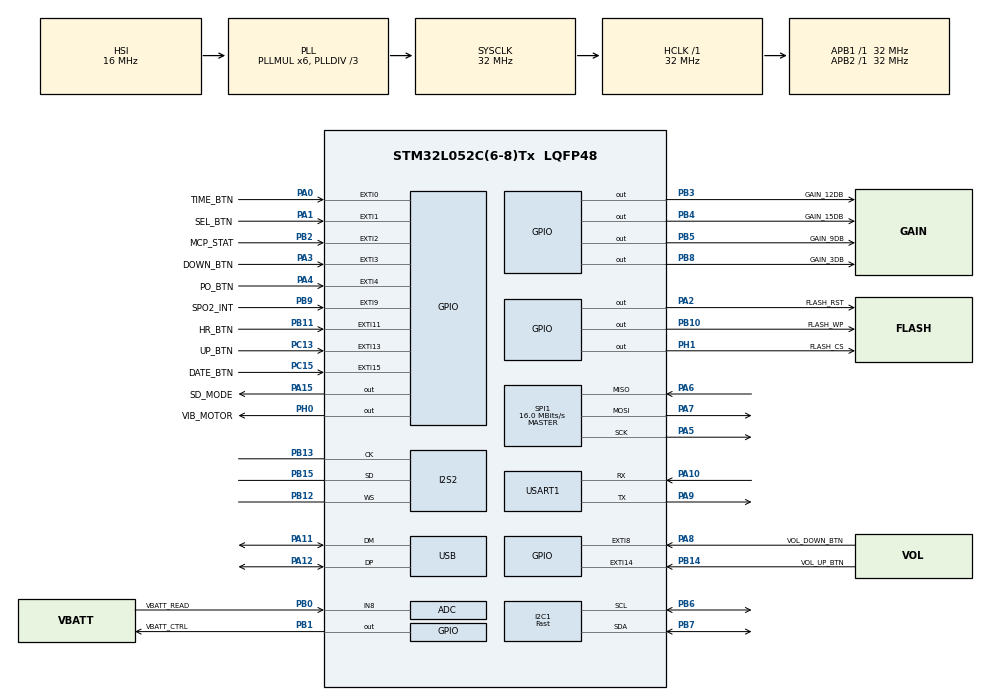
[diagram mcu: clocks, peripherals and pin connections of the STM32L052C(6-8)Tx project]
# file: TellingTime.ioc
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ADC.ContinuousConvMode=ENABLE
ADC.EOCSelection=ADC_EOC_SINGLE_CONV
ADC.EnableAnalogWatchDog=false
ADC.OversamplingMode=DISABLE
ADC.SamplingTime=ADC_SAMPLETIME_160CYCLES_5
Dma.Request0=SPI2_TX
Dma.SPI2_TX.0.Direction=DMA_MEMORY_TO_PERIPH
Dma.SPI2_TX.0.Instance=DMA1_Channel5
Dma.SPI2_TX.0.MemDataAlignment=DMA_MDATAALIGN_HALFWORD
Dma.SPI2_TX.0.MemInc=DMA_MINC_ENABLE
Dma.SPI2_TX.0.Mode=DMA_NORMAL
Dma.SPI2_TX.0.PeriphDataAlignment=DMA_PDATAALIGN_HALFWORD
Dma.SPI2_TX.0.PeriphInc=DMA_PINC_DISABLE
Dma.SPI2_TX.0.Priority=DMA_PRIORITY_LOW
FATFS._FS_LOCK=0
FATFS._FS_NORTC=1
FATFS._FS_READONLY=1
FATFS._FS_TINY=1
FATFS._MAX_LFN=255
FATFS._USE_FASTSEEK=0
FATFS._USE_LFN=0
FATFS._USE_MKFS=0
I2C1.I2C_Speed_Mode=I2C_Fast
I2C1.Timing=0x0060112F
I2S2.ErrorAudioFreq=0.0 %
I2S2.Instance=SPI$Index
I2S2.RealAudioFreq=8.0 KHz
I2S2.VirtualMode=I2S_MODE_MASTER
Mcu.Family=STM32L0
Mcu.Name=STM32L052C(6-8)Tx
Mcu.Package=LQFP48
NVIC.ADC1_COMP_IRQn=true\:0\:0\:false\:false\:true\:true\:true\:true
NVIC.DMA1_Channel4_5_6_7_IRQn=true\:0\:0\:false\:false\:true\:false\:true\:true
NVIC.EXTI0_1_IRQn=true\:0\:0\:false\:false\:true\:true\:true\:true
NVIC.EXTI2_3_IRQn=true\:0\:0\:false\:false\:true\:true\:true\:true
NVIC.EXTI4_15_IRQn=true\:0\:0\:false\:false\:true\:true\:true\:true
NVIC.RTC_IRQn=true\:0\:0\:false\:false\:true\:true\:true\:true
NVIC.TIM21_IRQn=true\:0\:0\:false\:false\:true\:true\:true\:true
NVIC.TIM22_IRQn=true\:0\:0\:false\:false\:true\:true\:true\:true
NVIC.TIM2_IRQn=true\:0\:0\:false\:false\:true\:true\:true\:true
NVIC.USART1_IRQn=true\:0\:0\:false\:false\:true\:true\:true\:true
NVIC.USB_IRQn=true\:0\:0\:false\:false\:true\:true\:true\:true
PA0.GPIO_Label=TIME_BTN
PA0.GPIO_ModeDefaultEXTI=GPIO_MODE_IT_RISING_FALLING
PA0.GPIO_PuPd=GPIO_PULLUP
PA0.Signal=GPXTI0
PA1.GPIO_Label=SEL_BTN
PA1.GPIO_ModeDefaultEXTI=GPIO_MODE_IT_RISING_FALLING
PA1.GPIO_PuPd=GPIO_PULLUP
PA1.Signal=GPXTI1
PA10.Mode=Asynchronous
PA10.Signal=USART1_RX
PA11.Mode=Device
PA11.Signal=USB_DM
PA12.Mode=Device
PA12.Signal=USB_DP
PA13.Mode=Serial_Wire
PA13.Signal=SYS_SWDIO
PA14.Mode=Serial_Wire
PA14.Signal=SYS_SWCLK
PA15.GPIO_Label=SD_MODE
PA15.Signal=GPIO_Output
PA2.GPIO_Label=FLASH_RST
PA2.Signal=GPIO_Output
PA3.GPIO_Label=DOWN_BTN
PA3.GPIO_ModeDefaultEXTI=GPIO_MODE_IT_RISING_FALLING
PA3.GPIO_PuPd=GPIO_PULLUP
PA3.Signal=GPXTI3
PA4.GPIO_Label=PO_BTN
PA4.GPIO_ModeDefaultEXTI=GPIO_MODE_IT_RISING_FALLING
PA4.GPIO_PuPd=GPIO_PULLUP
PA4.Signal=GPXTI4
PA5.Mode=Full_Duplex_Master
PA5.Signal=SPI1_SCK
PA6.Mode=Full_Duplex_Master
PA6.Signal=SPI1_MISO
PA7.Mode=Full_Duplex_Master
PA7.Signal=SPI1_MOSI
PA8.GPIO_Label=VOL_DOWN_BTN
PA8.GPIO_ModeDefaultEXTI=GPIO_MODE_IT_RISING_FALLING
PA8.GPIO_PuPd=GPIO_PULLUP
PA8.Signal=GPXTI8
PA9.Mode=Asynchronous
PA9.Signal=USART1_TX
PB0.GPIO_Label=VBATT_READ
PB0.Mode=IN8
PB0.Signal=ADC_IN8
PB1.GPIO_Label=VBATT_CTRL
PB1.Signal=GPIO_Output
PB10.GPIO_Label=FLASH_WP
PB10.Signal=GPIO_Output
PB11.GPIO_Label=HR_BTN
PB11.GPIO_ModeDefaultEXTI=GPIO_MODE_IT_RISING_FALLING
PB11.GPIO_PuPd=GPIO_PULLUP
PB11.Signal=GPXTI11
PB12.Mode=Half_Duplex_Master
PB12.Signal=I2S2_WS
PB13.Mode=Half_Duplex_Master
PB13.Signal=I2S2_CK
PB14.GPIO_Label=VOL_UP_BTN
PB14.GPIO_ModeDefaultEXTI=GPIO_MODE_IT_RISING_FALLING
PB14.GPIO_PuPd=GPIO_PULLUP
PB14.Signal=GPXTI14
PB15.Mode=Half_Duplex_Master
PB15.Signal=I2S2_SD
PB2.GPIO_Label=MCP_STAT
PB2.GPIO_ModeDefaultEXTI=GPIO_MODE_IT_RISING_FALLING
PB2.GPIO_PuPd=GPIO_PULLUP
PB2.Signal=GPXTI2
PB3.GPIO_Label=GAIN_12DB
PB3.Signal=GPIO_Output
PB4.GPIO_Label=GAIN_15DB
PB4.Signal=GPIO_Output
PB5.GPIO_Label=GAIN_9DB
PB5.Signal=GPIO_Output
PB6.Mode=I2C
PB6.Signal=I2C1_SCL
PB7.Mode=I2C
PB7.Signal=I2C1_SDA
PB8.GPIO_Label=GAIN_3DB
PB8.Signal=GPIO_Output
PB9.GPIO_Label=SPO2_INT
PB9.GPIO_ModeDefaultEXTI=GPIO_MODE_IT_FALLING
PB9.GPIO_PuPd=GPIO_PULLUP
PB9.Signal=GPXTI9
PC13.GPIO_Label=UP_BTN
PC13.GPIO_ModeDefaultEXTI=GPIO_MODE_IT_RISING_FALLING
PC13.GPIO_PuPd=GPIO_PULLUP
PC13.Signal=GPXTI13
PC14-OSC32_IN.Mode=LSE-External-Clock-Source
PC14-OSC32_IN.Signal=RCC_OSC32_IN
PC15-OSC32_OUT.GPIO_Label=DATE_BTN
PC15-OSC32_OUT.GPIO_ModeDefaultEXTI=GPIO_MODE_IT_RISING_FALLING
PC15-OSC32_OUT.GPIO_PuPd=GPIO_PULLUP
PC15-OSC32_OUT.Signal=GPXTI15
PH0-OSC_IN.GPIO_Label=VIB_MOTOR
PH0-OSC_IN.Signal=GPIO_Output
PH1-OSC_OUT.GPIO_Label=FLASH_CS
PH1-OSC_OUT.Signal=GPIO_Output
ProjectManager.HeapSize=0x200
ProjectManager.StackSize=0x400
ProjectManager.TargetToolchain=STM32CubeIDE
RCC.ADCFreq_Value=16000000
RCC.AHBFreq_Value=32000000
RCC.APB1Freq_Value=32000000
RCC.APB1TimFreq_Value=32000000
RCC.APB2Freq_Value=32000000
RCC.APB2TimFreq_Value=32000000
RCC.HCLKFreq_Value=32000000
RCC.HSE_VALUE=8000000
RCC.HSI16_VALUE=16000000
RCC.HSI48MClockSelection=RCC_USBCLKSOURCE_HSI48
RCC.HSI48_VALUE=48000000
RCC.HSI_VALUE=16000000
RCC.LSE_VALUE=32768
RCC.MSI_VALUE=2097000
RCC.PLLDIV=RCC_PLLDIV_3
RCC.PLLMUL=RCC_PLLMUL_6
RCC.RTCClockSelectionVirtual=RCC_RTCCLKSOURCE_LSE
RCC.SYSCLKFreq_VALUE=32000000
RCC.SYSCLKSource=RCC_SYSCLKSOURCE_PLLCLK
RCC.VCOOutputFreq_Value=96000000
RTC.Alarm-Alarm\ A=RTC_ALARM_A
RTC.AlarmMaskDateWeekDay-Alarm\ A=RTC_ALARMMASK_DATEWEEKDAY
RTC.AlarmMaskHours-Alarm\ A=RTC_ALARMMASK_HOURS
RTC.Format=RTC_FORMAT_BIN
RTC.HourFormat=RTC_HOURFORMAT_24
RTC.Hours_A-Alarm\ A=0
RTC.Minutes_A-Alarm\ A=2
RTC.WeekDay=RTC_WEEKDAY_WEDNESDAY
RTC.Year=25
SPI1.BaudRatePrescaler=SPI_BAUDRATEPRESCALER_2
SPI1.CalculateBaudRate=16.0 MBits/s
SPI1.Direction=SPI_DIRECTION_2LINES
SPI1.Mode=SPI_MODE_MASTER
SPI1.VirtualType=VM_MASTER
TIM2.Period=32768
TIM2.TIM2_ETR_REMAP-ClockSourceETR_Mode2_Remap_TIM2=TIM2_ETR_LSE
TIM21.Period=3277
TIM21.TIM21_ETR_REMAP-ClockSourceETR_Mode2_Remap_TIM21=TIM21_ETR_LSE
TIM22.Period=328
TIM22.TIM22_ETR_REMAP-ClockSourceETR_Mode2_Remap_TIM22=TIM22_ETR_LSE
TIM22.TIM_MasterOutputTrigger=TIM_TRGO_RESET
USART1.VirtualMode-Asynchronous=VM_ASYNC
VP_FATFS_VS_Generic.Mode=User_defined
VP_RTC_VS_RTC_Activate.Mode=RTC_Enabled
VP_RTC_VS_RTC_Alarm_A_Intern.Mode=Alarm A
VP_RTC_VS_RTC_Calendar.Mode=RTC_Calendar
VP_TIM21_VS_NoETR.Mode=ClockSourceETR_Mode2_Remap_TIM21
VP_TIM22_VS_NoETR.Mode=ClockSourceETR_Mode2_Remap_TIM22
VP_TIM2_VS_NoETR.Mode=ClockSourceETR_Mode2_Remap_TIM2
board=custom

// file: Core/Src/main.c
/* USER CODE BEGIN Header */
/**
  ******************************************************************************
  * @file           : main.c
  * @brief          : Main program body
  ******************************************************************************
  * @attention
  *
  * Copyright (c) 2024 STMicroelectronics.
  * All rights reserved.
  *
  * This software is licensed under terms that can be found in the LICENSE file
  * in the root directory of this software component.
  * If no LICENSE file comes with this software, it is provided AS-IS.
  *
  ******************************************************************************
  */
/* USER CODE END Header */
#include "main.h"
#include "adc.h"
#include "dma.h"
#include "fatfs.h"
#include "i2c.h"
#include "i2s.h"
#include "rtc.h"
#include "spi.h"
#include "tim.h"
#include "usart.h"
#include "usb.h"
#include "gpio.h"

/* USER CODE BEGIN Includes */
#include "watch_config.h"	// THIS MUST BE INCLUDED FIRST

#ifdef USB_DRIVE
#include "tusb.h"
#endif

#ifdef VIBRATION
#include "morse_driver.h"
#endif

#ifdef SPI_FLASH
#include "W25Q128JV_driver.h"
#endif

#ifdef AUDIO
#include "audio_player.h"
#include "audio_library.h"
#endif

#if defined(HEARTRATE) || defined(PULSE_OX)
#include "MAX30101_driver.h"
#include "arm_math.h"
#endif

#ifdef EXTI_SIGNALS
#include "button_fsm.h"
#endif

#include "event_queue.h"

#include <string.h>

/* USER CODE END Includes */

/* USER CODE BEGIN PTD */
#ifndef USB_DRIVE
struct WatchSettings
{
	uint8_t volume_level;
	EFeedbackMode feedback_mode;
	EDateFormat date_format;
	ETimeFormat time_format;
	uint8_t vibration_length;
	/*
	uint8_t morse_dot_length;
	uint8_t morse_dash_length;
	uint8_t morse_space_length
	*/
};
#endif
/* USER CODE END PTD */

/* USER CODE BEGIN PV */
#ifndef USB_DRIVE
struct WatchSettings watch_settings = {2, AUDIO_MODE, DATE_MDY, TIME_TWELVE_HOUR, 1};
EMenuFSMState menu_state = MENU_IDLE;
#endif

#ifdef LOW_POWER_MODE
volatile uint8_t pending_event_flag = 0;
#endif	/*LOW_POWER_MODE*/

#ifdef EXTI_SIGNALS
const GPIO_TypeDef* EXTI_SIGNAL_PORTS[16] = {GPIOA, GPIOA, GPIOB, GPIOA, GPIOA, GPIOA, GPIOA, GPIOA, GPIOA, GPIOB, GPIOA, GPIOB, GPIOA, GPIOC, GPIOB, GPIOC};
#endif

#ifdef DEBUG_TERMINAL
uint8_t rx_buffer[2];
#ifdef VIBRATION
uint8_t morse_rx_flag = 0;
#endif
#endif /*DEBUG_TERMINAL*/

#ifdef MEASURE_BATT
volatile uint8_t alarm_hour_inc = 0;
volatile uint8_t alarm_min_inc = 0;
volatile uint8_t alarm_sec_inc = 0;
volatile uint8_t batt_sample_num = 0;
volatile uint32_t batt_sample_sum = 0;
#endif

#if defined(VIBRATION) || defined(AUDIO)
volatile EEventFlag user_feedback_flag = NOT_STARTED;
#endif

#ifdef VIBRATION
char morse_buffer[MAX_MORSE_BUFFER_SIZE] = ".-- - ...";
#endif

#ifdef AUDIO
//uint16_t audio_buffers[AUDIO_BUFFER_SAMPLES * 2 * NUM_AUDIO_BUFFERS];
uint16_t* audio_buffers;
volatile uint8_t fill_audio_buffer_flag = 0;
EAudioFile audio_list[MAX_AUDIO_LIST_SIZE];// = {ONE_AUDIO, TWO_AUDIO, THREE_AUDIO, FOUR_AUDIO, FIVE_AUDIO, SIX_AUDIO, SEVEN_AUDIO, EIGHT_AUDIO, NINE_AUDIO, TEN_AUDIO};
uint8_t audio_list_size = 0;
#endif

#if defined(HEARTRATE) || defined(PULSE_OX)
uint16_t num_bio_samples;
EEventFlag bio_measurement_flag = NOT_STARTED;
ESPO2MeasurementType bio_measurement_type = MEASURE_HR;
uint8_t process_bio_data_flag = 0;
#endif

#ifdef HEARTRATE
q15_t* heartrate_data;
q15_t fir_state[FIR_FILTER_TAPS];
const q15_t FIR_COEFFICIENTS[FIR_FILTER_TAPS] = {-896, -673, -640, -432, -174, -43, -143, -408, -625, -601, -341, -77, -80, -409, -811, -916, -579, -66, 135, -254, -978, -1396, -1023, -52, 683, 344, -1091, -2553, -2496, -44, 4165, 8157, 9793, 8157, 4165, -44, -2496, -2553, -1091, 344, 683, -52, -1023, -1396, -978, -254, 135, -66, -579, -916, -811, -409, -80, -77, -341, -601, -625, -408, -143, -43, -174, -432, -640, -673, -896, 0};
arm_fir_instance_q15 S;
uint8_t heartrate_bpm;
#endif

#ifdef PULSE_OX
q15_t* spo2_green_data;
q15_t* spo2_ir_data;

uint8_t spo2_percent;
#endif

//arm_biquad_casd_df1_inst_q15

#ifdef DATE_TIME
RTC_TimeTypeDef set_time;
RTC_DateTypeDef set_date;
#endif

/* USER CODE END PV */

void SystemClock_Config(void);

/* USER CODE BEGIN 0 */
#ifdef DEBUG_TERMINAL
void HAL_UART_RxCpltCallback(UART_HandleTypeDef *huart)
{
    if (huart == &huart1)
    {
		switch(*((uint16_t*)rx_buffer))
		{
			#ifdef DATE_TIME
			case 0x4954:	// Tell Time (TI)
				HAL_UART_Transmit(&huart1, "Time\r\n", 7, 1000);
				EventQueue_Enqueue(GET_TIME_FULL);
				break;
			case 0x4144:	// Tell Date (DA)
				HAL_UART_Transmit(&huart1, "Date\r\n", 7, 1000);
				EventQueue_Enqueue(GET_DATE_FULL);
				break;
			#endif

			#ifdef HEARTRATE
			case 0x5248:	// Heart Rate (HR)
				HAL_UART_Transmit(&huart1, "Heart Rate\r\n", 13, 1000);
				EventQueue_Enqueue(GET_HR);
				break;
			#endif

			#ifdef PULSE_OX
			case 0x4F50:	// Pulse Ox (PO)
				HAL_UART_Transmit(&huart1, "Pulse Ox\r\n", 11, 1000);
				EventQueue_Enqueue(GET_PO);
				break;
			#endif

			case 0x5556:	// Volume Up (VU)
				HAL_UART_Transmit(&huart1, "Volume Up\r\n", 12, 1000);
				EventQueue_Enqueue(VOL_UP);
				break;
			case 0x4456:	// Volume Down (VD)
				HAL_UART_Transmit(&huart1, "Volume Down\r\n", 14, 1000);
				EventQueue_Enqueue(VOL_DOWN);
				break;
			case 0x554D:	// Volume Mute (MU)
				HAL_UART_Transmit(&huart1, "Volume Mute\r\n", 14, 1000);
				EventQueue_Enqueue(VOL_MUTE);
				break;
			case 0x4D55:	// Volume Unmute (UM)
				HAL_UART_Transmit(&huart1, "Volume Unmute\r\n", 16, 1000);
				EventQueue_Enqueue(VOL_UNMUTE);
				break;

			#ifdef AUDIO
			case 0x4150:	// Play Audio (PA)
				HAL_UART_Transmit(&huart1, "Play Audio\r\n", 13, 1000);
				user_feedback_flag = RUNNING;
				PlayerFSM_Prime(audio_list, audio_list_size, audio_buffers);
				HAL_I2S_Transmit_DMA(&hi2s2, audio_buffers, AUDIO_BUFFER_SAMPLES * 2 * NUM_AUDIO_BUFFERS);
				break;
			#endif

			case 0x5541:	// Arrow Up (AU)
				HAL_UART_Transmit(&huart1, "Arrow Up\r\n", 11, 1000);
				EventQueue_Enqueue(MENU_UP);
				break;
			case 0x4441:	// Arrow Down (AD)
				HAL_UART_Transmit(&huart1, "Arrow Down\r\n", 13, 1000);
				EventQueue_Enqueue(MENU_DOWN);
				break;
			case 0x4553:	// Select (SE)
				HAL_UART_Transmit(&huart1, "Select\r\n", 9, 1000);
				EventQueue_Enqueue(MENU_SELECT);
				break;

			#ifdef VIBRATION
			case 0x4F4D:	// Morse (MO)
				HAL_UART_Transmit(&huart1, "Morse\r\n", 8, 1000);
				HAL_UART_Receive_IT(&huart1, morse_buffer, MAX_MORSE_BUFFER_SIZE);
				break;
			#endif

			case 0x5352:	// Reset (RS)
				HAL_UART_Transmit(&huart1, "Reset\r\n", 8, 1000);

				#ifdef SPI_FLASH
				Flash_ReleasePowerDown();
				Flash_ResetDevice();
				#endif

				#ifdef defined(HEARTRATE) || defined(PULSE_OX)
				SPO2_ResetDevice();
				#endif

				NVIC_SystemReset();
				break;

			default:
				break;
		}

		memset(rx_buffer, 0, sizeof(rx_buffer));	// Clears the RX buffer
    }
}
#endif

#ifdef AUDIO
#if NUM_AUDIO_BUFFERS == 2
void HAL_I2S_TxHalfCpltCallback(I2S_HandleTypeDef *hi2s)
{
	if (user_feedback_flag == RUNNING)
	{
		fill_audio_buffer_flag = 1;
	}
	else
	{
		HAL_I2S_DMAStop(&hi2s2);
	}
}
#endif	/*NUM_AUDIO_BUFFERS == 2*/

void HAL_I2S_TxCpltCallback(I2S_HandleTypeDef *hi2s)
{
	if (user_feedback_flag == RUNNING)
	{
		fill_audio_buffer_flag = 1;
	}
	else
	{
		HAL_I2S_DMAStop(&hi2s2);
	}
}

void fill_audio_buffer()
{
	  if (PlayerFSM_Run() != AUDIOPLAYER_OK)
	  {
		  user_feedback_flag = FINISHED;
		  Flash_PowerDown();
	  }

	  fill_audio_buffer_flag = 0;

	  #if NUM_AUDIO_BUFFERS == 1
	  HAL_I2S_Transmit_DMA(&hi2s2, audio_buffers, AUDIO_BUFFER_SAMPLES * 2);
	  #endif
}
#endif	/*AUDIO*/

void HAL_TIM_PeriodElapsedCallback(TIM_HandleTypeDef* htim)
{
	#ifdef VIBRATION
	// Vibration motor timer
    if (htim == &htim21)
    {
		#ifdef VIBRATION
    	switch(MorseFSM_Run())
    	{
    		case DOT:
    		case DASH:
    			HAL_GPIO_WritePin(VIB_MOTOR_GPIO_Port, VIB_MOTOR_Pin, GPIO_PIN_SET);
    			break;

    		case PAUSE:
    		case SPACE:
    			HAL_GPIO_WritePin(VIB_MOTOR_GPIO_Port, VIB_MOTOR_Pin, GPIO_PIN_RESET);
    			break;

    		case MORSE_DONE:
    			HAL_GPIO_WritePin(VIB_MOTOR_GPIO_Port, VIB_MOTOR_Pin, GPIO_PIN_RESET);
    			HAL_TIM_Base_Stop_IT(&htim21);
    			user_feedback_flag = FINISHED;
    			break;

    		default:
    			break;
    	}

    	return;
		#endif
    }
	#endif	/*VIBRATION*/

	#ifdef EXTI_SIGNALS
    // Button debounce timer
    if (htim == &htim22)
    {
    	HAL_TIM_Base_Stop_IT(&htim22);

    	if (Button_GetState() == INITIAL_PRESS)
    	{
			uint8_t button_exti_line = Button_GetButton();

			if (HAL_GPIO_ReadPin(EXTI_SIGNAL_PORTS[button_exti_line], (0x0001 << button_exti_line)) == GPIO_PIN_RESET)
			{
				Button_DebounceComplete();
				__HAL_TIM_CLEAR_FLAG(&htim2, TIM_SR_UIF); // Stops TIM2's interrupt from firing immediately
				HAL_TIM_Base_Start_IT(&htim2);
			}
			else
			{
				Button_Release();
				#ifdef LOW_POWER_MODE
				pending_event_flag = 0;
				#endif	/*LOW_POWER_MODE*/
			}
    	}

    	return;
    }

    // Long button press timer
    if (htim == &htim2)
    {
    	HAL_TIM_Base_Stop_IT(&htim2);

    	if (Button_GetState() == DEBOUNCED)
    	{
    		Button_LongPress();
    		EventQueue_Enqueue(Button_GetWatchEvent());
    	}

		return;
    }
	#endif	/*EXTI_SIGNALS*/
}

#ifdef MEASURE_BATT
void HAL_RTC_AlarmAEventCallback(RTC_HandleTypeDef *hrtc)
{
	#ifdef LOW_POWER_MODE
	pending_event_flag = 1;		// Prevents us from going to sleep since we expect there will be an event after taking an ADC measurement
	#endif	/*LOW_POWER_MODE*/
	HAL_GPIO_WritePin(VBATT_CTRL_GPIO_Port, VBATT_CTRL_Pin, GPIO_PIN_SET);	// Biases the measurement voltage divider MOSFET
	HAL_ADC_Start_IT(&hadc);
}

void HAL_ADC_ConvCpltCallback(ADC_HandleTypeDef* hadc)
{
	// Updates the alarm so that it happens again
	RTC_AlarmTypeDef alarm;

	if (HAL_RTC_GetAlarm(&hrtc, &alarm, RTC_ALARM_A, RTC_FORMAT_BIN) != HAL_OK)
	{
		Error_Handler();
	}

	// add logic so everything below this only runs after a certain number of samples has been taken
	batt_sample_sum += HAL_ADC_GetValue(hadc);
	batt_sample_num++;

	if (batt_sample_num >= BATT_MEASURE_SAMPLES)
	{
		HAL_GPIO_WritePin(VBATT_CTRL_GPIO_Port, VBATT_CTRL_Pin, GPIO_PIN_RESET);	// Unbiases the measurement voltage divider MOSFET
		HAL_ADC_Stop_IT(hadc);		// Stops taking ADC measurements

		if (batt_sample_sum / batt_sample_num <= 1912)
		{
			EventQueue_Enqueue(LOW_BATT_DETECT);
		}

		batt_sample_sum = 0;
		batt_sample_num = 0;

		alarm.AlarmTime.Hours = (alarm.AlarmTime.Hours + alarm_hour_inc) % 24;
		alarm.AlarmTime.Minutes = (alarm.AlarmTime.Minutes + alarm_min_inc) % 60;
		alarm.AlarmTime.Seconds = (alarm.AlarmTime.Seconds + alarm_sec_inc) % 60;
		alarm.AlarmTime.SubSeconds = 0;

		if (HAL_RTC_SetAlarm_IT(&hrtc, &alarm, RTC_FORMAT_BIN) != HAL_OK)
		{
			Error_Handler();
		}

		#ifdef LOW_POWER_MODE
		pending_event_flag = 0;
		#endif	/*LOW_POWER_MODE*/
	}
}
#endif	/*MEASURE_BATT*/

#ifdef EXTI_SIGNALS
uint8_t getEXTILineNum(uint16_t GPIO_Pin)
{
	for (uint8_t i = 0; i < 16; i++)
	{
		if (GPIO_Pin & (0x0001 << i))
		{
			return i;
		}
	}

	return 0;
}

void HAL_GPIO_EXTI_Callback(uint16_t GPIO_Pin)
{
	uint8_t exti_line_num = getEXTILineNum(GPIO_Pin);
	//GPIO_PinState pin_state = HAL_GPIO_ReadPin(EXTI_SIGNAL_PORTS[exti_line_num], GPIO_Pin);

	switch (exti_line_num)
	{
		case SPO2_INT:			// This pin is only set up for falling edge detection
			#if defined(HEARTRATE) || defined(PULSE_OX)
			process_bio_data_flag = 1;
			#endif
			break;

		case MCP_STAT_INT:
			#ifdef CHARGING_MONITOR
			EventQueue_Enqueue(HAL_GPIO_ReadPin(EXTI_SIGNAL_PORTS[exti_line_num], GPIO_Pin) == GPIO_PIN_RESET ? CHARGE_CYCLE_START : CHARGE_CYCLE_END);
			#endif
			break;

		default:	// If the interrupt signal did not come from the above three cases, it must be a button
			switch (Button_GetState())
			{
				case BUTTON_IDLE:	// This runs when the button is initially pressed
					if (EventQueue_GetNumQueued() == 0)	// Watch functions controlled by buttons are blocked if there is already another event
					{
						#ifdef LOW_POWER_MODE
						pending_event_flag = 1;						// Prevents us from going to sleep since we expect there will be an event after debouncing
						#endif	/*LOW_POWER_MODE*/
						Button_InitPress(exti_line_num);
						__HAL_TIM_CLEAR_FLAG(&htim22, TIM_SR_UIF); 	// Stops TIM22's interrupt from firing immediately
						HAL_TIM_Base_Start_IT(&htim22);
					}
					break;

				case DEBOUNCED:		// This runs once the button is debounced and released before the long press timer overflows
					Button_ShortPress();
					EventQueue_Enqueue(Button_GetWatchEvent());
					Button_Release();
					#ifdef LOW_POWER_MODE
					pending_event_flag = 0;
					#endif	/*LOW_POWER_MODE*/
					break;

				case LONG_PRESS:	// This runs once the button is debounced and released after the long press timer overflows
					Button_Release();
					#ifdef LOW_POWER_MODE
					pending_event_flag = 0;
					#endif	/*LOW_POWER_MODE*/
					break;

				default:
					break;
			}
			break;
	}
}
#endif	/*EXTI_SIGNALS*/

/*
uint32_t run_iir_filter(uint32_t x_input)
{
	uint32_t y_output = x_input * b[0];

	for (int i = 1; i < IIR_FILTER_STAGES; i++)
	{
		y_output += b[i] * iir_delayed_x[i-1];
		y_output += a[i] * iir_delayed_y[i-1];

		iir_delayed_x[i] = iir_delayed_x[i-1];
		iir_delayed_y[i] = iir_delayed_y[i-1];
	}

	iir_delayed_x[0] = x_input;
	iir_delayed_y[0] = y_output;

	return y_output;
}
*/

#if defined(HEARTRATE) || defined(PULSE_OX)
void process_spo2_data()
{
	uint8_t fired_ints[5];
	uint8_t num_fired_ints;
	SPO2_ReadInterrupts(fired_ints, &num_fired_ints);

	for (int i = 0; i < num_fired_ints; i++)
	{
		switch (fired_ints[i])
		{
			case PWR_RDY_MASK:
				break;

			case ALC_OVF_MASK:
				break;

			case PPG_RDY_MASK:
				uint32_t new_sample[4];
				SPO2_ReadNewSample(new_sample);

				if (bio_measurement_type == MEASURE_HR && num_bio_samples <= HR_SAMPLE_NUM)
				{
					#ifdef HEARTRATE
					// Heartrate data collection and filtering
					heartrate_data[HR_SAMPLE_NUM - num_bio_samples] = (q15_t) new_sample[0];
					#endif
				}
				else if (bio_measurement_type == MEASURE_SPO2 && num_bio_samples <= SPO2_SAMPLE_NUM)
				{
					#ifdef PULSE_OX
					// SPO2 data collection and filtering
					spo2_green_data[SPO2_SAMPLE_NUM - num_bio_samples - 1] = (q15_t) new_sample[0];
					spo2_ir_data[SPO2_SAMPLE_NUM - num_bio_samples - 1] = (q15_t) new_sample[1];
					#endif
				}

				//================================displays filtered output===========================
				#ifdef DEBUG_TERMINAL
				char sample_str[15];
				memset(sample_str, 0, 15);
				sprintf(sample_str, "%d\r\n", new_sample[0]);
				//sprintf(sample_str, "%d, %d\r\n", new_sample[0], new_sample[1]);
				HAL_UART_Transmit(&huart1, sample_str, 15, 1000);
				#endif
				//===================================================================================

				num_bio_samples--;
				if (num_bio_samples == 0)
				{
					SPO2_StopMeasurement();

					if (bio_measurement_type == MEASURE_HR)
					{
						#ifdef HEARTRATE
						// Heart rate post processing
						q15_t min = heartrate_data[0];
						for (int i = 1; i < HR_SAMPLE_NUM; i++)
						{
							min = heartrate_data[i] < min ? heartrate_data[i] : min;
						}

						q15_t temp;
						for (int i = 0; i < HR_SAMPLE_NUM; i++)
						{
							//heartrate_data[i] -= min;
							arm_fir_q15(&S, &heartrate_data[i], &temp, 1);

							char str_out[6];
							memset(str_out, 0, 6);
							sprintf(str_out, "%d\r\n", temp);
							HAL_UART_Transmit(&huart1, str_out, 6, 1000);
							//heartrate_data[i] = heartrate_data[i] > 0 ? 0 : heartrate_data[i];
						}

						q15_t rms;
						arm_rms_q15(heartrate_data, HR_SAMPLE_NUM, &rms);
						rms++;
						#endif
					}
					else if (bio_measurement_type == MEASURE_SPO2)
					{
						#ifdef PULSE_OX
						// SPO2 post processing
						q15_t rms_green;
						q15_t rms_ir;
						arm_rms_q15(spo2_green_data, SPO2_SAMPLE_NUM, &rms_green);
						arm_rms_q15(spo2_ir_data, SPO2_SAMPLE_NUM, &rms_ir);
						spo2_percent = (uint8_t) (((float32_t) rms_green) / ((float32_t) rms_ir) * 100);
						#endif
					}

					bio_measurement_flag = FINISHED;
				}
				break;

			case A_FULL_MASK:
				break;

			case DIE_TEMP_RDY_MASK:
				break;

			default:
				break;
		}
	}

	process_bio_data_flag = 0;
}
#endif	/*defined(HEARTRATE) || defined(PULSE_OX)*/

#ifdef DATE_TIME
uint8_t convert_24hr_to_12hr(uint8_t hour_24)
{
	uint8_t hour_12 = hour_24 % 12;

	if (hour_12 == 0)
	{
		hour_12 = 12;
	}

	if (hour_24 / 12 == 1)
	{
		hour_12 |= 0x80;	//AM/PM information is encoded in the MSB: AM = 0, PM = 1;
	}

	return hour_12;
}
#endif	/*DATE_TIME*/

#ifndef USB_DRIVE
void set_gain_pins()
{
	HAL_GPIO_WritePin(GAIN_3DB_GPIO_Port, GAIN_3DB_Pin, GPIO_PIN_RESET);
	HAL_GPIO_WritePin(GAIN_9DB_GPIO_Port, GAIN_9DB_Pin, GPIO_PIN_RESET);
	HAL_GPIO_WritePin(GAIN_12DB_GPIO_Port, GAIN_12DB_Pin, GPIO_PIN_RESET);
	HAL_GPIO_WritePin(GAIN_15DB_GPIO_Port, GAIN_15DB_Pin, GPIO_PIN_RESET);

	switch (watch_settings.volume_level)
	{
		case 0:
			HAL_GPIO_WritePin(GAIN_3DB_GPIO_Port, GAIN_3DB_Pin, GPIO_PIN_SET);
			break;

		case 2:
			HAL_GPIO_WritePin(GAIN_9DB_GPIO_Port, GAIN_9DB_Pin, GPIO_PIN_SET);
			break;

		case 3:
			HAL_GPIO_WritePin(GAIN_12DB_GPIO_Port, GAIN_12DB_Pin, GPIO_PIN_SET);
			break;

		case 4:
			HAL_GPIO_WritePin(GAIN_15DB_GPIO_Port, GAIN_15DB_Pin, GPIO_PIN_SET);
			break;

		default:
			break;
	}
}
#endif	/*USB_DRIVE*/

#if defined(AUDIO) || defined(VIBRATION)
void start_user_feedback()
{
	user_feedback_flag = RUNNING;

	if (watch_settings.feedback_mode == AUDIO_MODE)
	{
		#ifdef AUDIO
		Flash_ReleasePowerDown();	// Wakes flash memory up from power down mode
		HAL_GPIO_WritePin(SD_MODE_GPIO_Port, SD_MODE_Pin, GPIO_PIN_SET);
		audio_buffers = (uint16_t*) calloc(AUDIO_BUFFER_SAMPLES * 2 * NUM_AUDIO_BUFFERS, sizeof(uint16_t));
		PlayerFSM_Prime(audio_list, audio_list_size, audio_buffers);	// Need to add error handling to this
		HAL_I2S_Transmit_DMA(&hi2s2, audio_buffers, AUDIO_BUFFER_SAMPLES * 2 * NUM_AUDIO_BUFFERS);
		#endif
	}
	else if (watch_settings.feedback_mode == VIBRATION_MODE)
	{
		#ifdef VIBRATION
		MorseFSM_Prime(morse_buffer, watch_settings.vibration_length);
		HAL_TIM_Base_Start_IT(&htim21);
		#endif
	}
}

void end_user_feedback()
{
	user_feedback_flag = NOT_STARTED;

	if (watch_settings.feedback_mode == AUDIO_MODE)
	{
		#ifdef AUDIO
		free(audio_buffers);
		#endif
	}
}
#endif	/*defined(AUDIO) || defined(VIBRATION)*/

#ifndef USB_DRIVE
void handle_events()	// Must be called repeatedly in main loop
{
	EWatchEvent event = EventQueue_Peek();

	switch (event)
	{
		#ifdef DATE_TIME
		case GET_TIME_FULL:
		case GET_TIME_MIN:
			switch (user_feedback_flag)
			{
				case NOT_STARTED:
					// Clears buffers
					audio_list_size = 0;
					memset(audio_list, 0, MAX_AUDIO_LIST_SIZE);
					memset(morse_buffer, 0, MAX_MORSE_BUFFER_SIZE);

					// Gets current time from RTC
					RTC_TimeTypeDef current_time;
					RTC_DateTypeDef current_date;
					if (HAL_RTC_GetTime(&hrtc, &current_time, RTC_FORMAT_BIN) != HAL_OK || HAL_RTC_GetDate(&hrtc, &current_date, RTC_FORMAT_BIN) != HAL_OK)
					{
						Error_Handler();
					}

					// Creates feedback for the hour (if desired)
					//if (event == GET_TIME_FULL)
					//{
					uint8_t twelve_hour = convert_24hr_to_12hr(current_time.Hours);

					if (watch_settings.time_format == TIME_TWELVE_HOUR)
					{
						generate_number_audio(audio_list, &audio_list_size, (twelve_hour & 0x0F), 0);
					}
					else
					{
						generate_number_audio(audio_list, &audio_list_size, current_time.Hours, 0);
					}

					generate_number_morse(morse_buffer, current_time.Hours);
					//}

					// Creates feedback for the minutes
					if (current_time.Minutes != 0)
					{
						generate_number_audio(audio_list, &audio_list_size, current_time.Minutes, 1);
					}
					generate_number_morse(morse_buffer, current_time.Minutes);

					// Adds AM/PM if time format is twelve-hour
					if (watch_settings.time_format == TIME_TWELVE_HOUR)
					{
						audio_list[audio_list_size++] = (twelve_hour & 0x80 ? PM_AUDIO : AM_AUDIO);
					}

					start_user_feedback();
					break;

				case FINISHED:
					end_user_feedback();
					HAL_GPIO_WritePin(SD_MODE_GPIO_Port, SD_MODE_Pin, GPIO_PIN_RESET);	// Resets the SM_MODE pin in case the feedback mode was AUDIO
					EventQueue_Dequeue();
					break;

				default:
					break;
			}
			break;

		case GET_DATE_FULL:
		case GET_DATE_DAY:
			switch (user_feedback_flag)
			{
				case NOT_STARTED:
					// Clears buffers
					audio_list_size = 0;
					memset(audio_list, 0, MAX_AUDIO_LIST_SIZE);
					memset(morse_buffer, 0, MAX_MORSE_BUFFER_SIZE);

					// Gets current date from RTC
					RTC_DateTypeDef current_date;
					if (HAL_RTC_GetDate(&hrtc, &current_date, RTC_FORMAT_BIN) != HAL_OK)
					{
						Error_Handler();
					}

					// Creates feedback for the weekday (if desired)
					if (event == GET_DATE_FULL)
					{
						audio_list[audio_list_size++] = SUNDAY_AUDIO + current_date.WeekDay;
						//generate_number_audio(audio_list, &audio_list_size, current_date.WeekDay, 0);	// Change this if we have weekday audio (MONDAY_AUDIO + current_date.WeekDay)
						generate_number_morse(morse_buffer, current_date.WeekDay);
					}

					// Creates feedback for the month and day
					if (watch_settings.date_format == DATE_MDY)
					{
						// Creates feedback for month
						audio_list[audio_list_size++] = JANUARY_AUDIO + current_date.Month - 1;
						generate_number_morse(morse_buffer, current_date.Month);

						// Creates feedback for day
						generate_number_audio(audio_list, &audio_list_size, current_date.Date, 0);
						generate_number_morse(morse_buffer, current_date.Date);
					}
					else
					{
						// Creates feedback for day
						generate_number_audio(audio_list, &audio_list_size, current_date.Date, 0);
						generate_number_morse(morse_buffer, current_date.Date);

						// Creates feedback for month
						audio_list[audio_list_size++] = JANUARY_AUDIO + current_date.Month - 1;
						generate_number_morse(morse_buffer, current_date.Month);
					}

					// Creates feedback for the year (if desired)
					if (event == GET_DATE_FULL)
					{
						audio_list[audio_list_size++] = TWENTY_AUDIO;
						generate_number_audio(audio_list, &audio_list_size, current_date.Year, 0);
						generate_number_morse(morse_buffer, current_date.Year);
					}

					start_user_feedback();
					break;

				case FINISHED:
					end_user_feedback();
					EventQueue_Dequeue();
					break;

				default:
					break;
			}
			break;
		#endif	/*DATE_TIME*/

		case GET_HR:
			#ifdef HEARTRATE
			switch (bio_measurement_flag)
			{
				case NOT_STARTED:
					num_bio_samples = HR_SAMPLE_NUM+1;
					bio_measurement_type = MEASURE_HR;
					heartrate_data = (q15_t*) calloc(HR_SAMPLE_NUM, sizeof(q15_t));
					SPO2_StartMeasurement(bio_measurement_type);
					bio_measurement_flag = RUNNING;
					break;

				case FINISHED:
					// Send results to audio player
					free(heartrate_data);
					bio_measurement_flag = NOT_STARTED;
					EventQueue_Dequeue();
					break;

				default:
					break;
			}
			#else
			EventQueue_Dequeue();
			#endif	/*HEARTRATE*/
			break;

		case GET_PO:
			#ifdef PULSE_OX
			switch (bio_measurement_flag)
			{
				case NOT_STARTED:
					num_bio_samples = SPO2_SAMPLE_NUM+1;
					bio_measurement_type = MEASURE_SPO2;
					spo2_green_data = (q15_t*) calloc(SPO2_SAMPLE_NUM, sizeof(q15_t));
					spo2_ir_data = (q15_t*) calloc(SPO2_SAMPLE_NUM, sizeof(q15_t));
					SPO2_StartMeasurement(bio_measurement_type);
					bio_measurement_flag = RUNNING;
					break;

				case FINISHED:
					switch (user_feedback_flag)
					{
						case NOT_STARTED:
							free(spo2_green_data);
							free(spo2_ir_data);

							// Clears buffers
							audio_list_size = 0;
							memset(audio_list, 0, MAX_AUDIO_LIST_SIZE);
							memset(morse_buffer, 0, MAX_MORSE_BUFFER_SIZE);

							// Generate SPO2 audio
							generate_number_audio(audio_list, &audio_list_size, spo2_percent, 0);
							audio_list[audio_list_size++] = PERCENT_AUDIO;
							generate_number_morse(morse_buffer, spo2_percent);
							start_user_feedback();
							break;

						case FINISHED:
							end_user_feedback();
							bio_measurement_flag = NOT_STARTED;
							EventQueue_Dequeue();
							break;
					}
					break;

				default:
					break;
			}
			#else
			EventQueue_Dequeue();
			#endif	/*PULSE_OX*/
			break;

		case VOL_UP:
			if (watch_settings.feedback_mode == AUDIO_MODE && watch_settings.volume_level < 4)
			{
				watch_settings.volume_level++;
				set_gain_pins();
			}
			EventQueue_Dequeue();
			break;

		case VOL_DOWN:
			if (watch_settings.feedback_mode == AUDIO_MODE && watch_settings.volume_level > 0)
			{
				watch_settings.volume_level--;
				set_gain_pins();
			}
			EventQueue_Dequeue();
			break;

		case VOL_MUTE:
			watch_settings.feedback_mode = VIBRATION_MODE;
			switch (user_feedback_flag)
			{
				case NOT_STARTED:
					memset(morse_buffer, 0, MAX_MORSE_BUFFER_SIZE);
					morse_buffer[0] = '-';
					start_user_feedback();
					break;

				case FINISHED:
					end_user_feedback();
					EventQueue_Dequeue();
					break;
			}
			break;

		case VOL_UNMUTE:
			watch_settings.feedback_mode = AUDIO_MODE;
			EventQueue_Dequeue();
			break;

		case MENU_UP:
		case MENU_DOWN:
		case MENU_SELECT:
		case MENU_HOME:
			if (watch_settings.feedback_mode == AUDIO_MODE)		// You can only edit settings when not in silent mode
			{
				switch (user_feedback_flag)
				{
					case NOT_STARTED:
						audio_list_size = 0;
						memset(audio_list, 0, MAX_AUDIO_LIST_SIZE);

						run_menu_fsm(event);
						start_user_feedback();
						break;

					case FINISHED:
						end_user_feedback();
						EventQueue_Dequeue();
						break;
				}
				break;
			}
			else
			{
				EventQueue_Dequeue();
			}

		#ifdef CHARGING_MONITOR
		case CHARGE_CYCLE_START:
			HAL_UART_Transmit(&huart1, "Charge Start\r\n", 15, 1000);
			EventQueue_Dequeue();
			break;

		case CHARGE_CYCLE_END:
			HAL_UART_Transmit(&huart1, "Charge End\r\n", 13, 1000);
			EventQueue_Dequeue();
			break;
		#endif	/*CHARGING_MONITOR*/

		#ifdef MEASURE_BATT
		case LOW_BATT_DETECT:
			switch (user_feedback_flag)
			{
				case NOT_STARTED:
					audio_list_size = 0;
					memset(audio_list, 0, MAX_AUDIO_LIST_SIZE);

					audio_list[audio_list_size++] = LOW_AUDIO;
					audio_list[audio_list_size++] = BATTERY_AUDIO;
					start_user_feedback();
					break;

				case FINISHED:
					end_user_feedback();
					EventQueue_Dequeue();
					break;
			}
			break;
		#endif	/*MEASURE_BATT*/

		default:	// Runs if there are no events to handle
			#ifdef LOW_POWER_MODE
			if (!pending_event_flag)	// Prevents us from going back to sleep if we are checking for an event (e.g. taking ADC sample, debouncing, etc.)
			{
				HAL_SuspendTick();
				HAL_PWR_EnterSTOPMode(PWR_LOWPOWERREGULATOR_ON, PWR_STOPENTRY_WFI);
				SystemClock_Config();
				HAL_ResumeTick();
			}
			#endif	/*LOW_POWER_MODE*/
			break;
	}

}

void run_menu_fsm(EWatchEvent menu_action)
{
	switch (menu_state)
	{
		case MENU_IDLE:
			if (menu_action == MENU_SELECT)
			{
				menu_state = MENU_SET_TIME;
				audio_list[audio_list_size++] = SET_AUDIO;
				audio_list[audio_list_size++] = TIME_AUDIO;
			}
			break;

		case MENU_SET_TIME:
			switch (menu_action) {
				case MENU_SELECT:
					menu_state = MENU_SET_HOUR;
					if (HAL_RTC_GetTime(&hrtc, &set_time, RTC_FORMAT_BIN) != HAL_OK || HAL_RTC_GetDate(&hrtc, &set_date, RTC_FORMAT_BIN) != HAL_OK)
					{
						Error_Handler();
					}
					audio_list[audio_list_size++] = SET_AUDIO;
					audio_list[audio_list_size++] = HOUR_AUDIO;
					break;

				case MENU_UP:
					menu_state = MENU_SET_DATE;
					audio_list[audio_list_size++] = SET_AUDIO;
					audio_list[audio_list_size++] = DATE_AUDIO;
					break;

				case MENU_DOWN:
					menu_state = MENU_FORMAT_TIME;
					audio_list[audio_list_size++] = SET_AUDIO;
					audio_list[audio_list_size++] = TIME_AUDIO;
					audio_list[audio_list_size++] = FORMAT_AUDIO;
					break;
			}
			break;

		case MENU_SET_HOUR:
			switch (menu_action) {
				case MENU_SELECT:
					menu_state = MENU_SET_MINUTE;
					audio_list[audio_list_size++] = SET_AUDIO;
					audio_list[audio_list_size++] = MINUTE_AUDIO;
					break;

				case MENU_UP:
					set_time.Hours = (set_time.Hours >= 23 ? 0 : set_time.Hours + 1);
					generate_number_audio(audio_list, &audio_list_size, set_time.Hours, 0);
					break;

				case MENU_DOWN:
					set_time.Hours = (set_time.Hours == 0 ? 23 : set_time.Hours - 1);
					generate_number_audio(audio_list, &audio_list_size, set_time.Hours, 0);
					break;
			}
			break;

		case MENU_SET_MINUTE:
			switch (menu_action) {
				case MENU_SELECT:
					menu_state = MENU_IDLE;
					set_time.Seconds = 0;
					set_time.SubSeconds = 0;

					if (HAL_RTC_SetTime(&hrtc, &set_time, RTC_FORMAT_BIN) != HAL_OK)
					{
						Error_Handler();
					}

					// Reseting battery check alarm
					#ifdef MEASURE_BATT
					RTC_AlarmTypeDef alarm;
					if (HAL_RTC_GetAlarm(&hrtc, &alarm, RTC_ALARM_A, RTC_FORMAT_BIN) != HAL_OK)
					{
						Error_Handler();
					}

					alarm.AlarmTime.Hours = (set_time.Hours + alarm_hour_inc) % 24;
					alarm.AlarmTime.Minutes = (set_time.Minutes + alarm_min_inc) % 60;
					alarm.AlarmTime.Seconds = (set_time.Seconds + alarm_sec_inc) % 60;

					if (HAL_RTC_SetAlarm_IT(&hrtc, &alarm, RTC_FORMAT_BIN) != HAL_OK)
					{
						Error_Handler();
					}
					#endif

					audio_list[audio_list_size++] = TIME_AUDIO;
					audio_list[audio_list_size++] = SET_AUDIO;
					break;

				case MENU_UP:
					set_time.Minutes = (set_time.Minutes >= 59 ? 0 : set_time.Minutes + 1);
					generate_number_audio(audio_list, &audio_list_size, set_time.Minutes, 0);
					break;

				case MENU_DOWN:
					set_time.Minutes = (set_time.Minutes == 0 ? 59 : set_time.Minutes - 1);
					generate_number_audio(audio_list, &audio_list_size, set_time.Minutes, 0);
					break;
			}
			break;

		case MENU_SET_DATE:
			switch (menu_action) {
				case MENU_SELECT:
					menu_state = MENU_SET_YEAR;
					if (HAL_RTC_GetDate(&hrtc, &set_date, RTC_FORMAT_BIN) != HAL_OK)
					{
						Error_Handler();
					}
					audio_list[audio_list_size++] = SET_AUDIO;
					audio_list[audio_list_size++] = YEAR_AUDIO;
					break;

				case MENU_UP:
					menu_state = MENU_SET_VIB_LEN;
					audio_list[audio_list_size++] = SET_AUDIO;
					audio_list[audio_list_size++] = VIBRATION_AUDIO;
					audio_list[audio_list_size++] = LENGTH_AUDIO;
					break;

				case MENU_DOWN:
					menu_state = MENU_SET_TIME;
					audio_list[audio_list_size++] = SET_AUDIO;
					audio_list[audio_list_size++] = TIME_AUDIO;
					break;
			}
			break;

		case MENU_SET_DAY:
			switch (menu_action) {
				case MENU_SELECT:
					menu_state = MENU_IDLE;

					// Determines day of the week for the month using Zeller's Congruence algorithm
					uint8_t month_code = set_date.Month < 3 ? set_date.Month + 12 : set_date.Month;
					uint8_t weekday_code = (set_date.Date + (13 * (month_code+1) / 5) + set_date.Year) % 7;
					set_date.WeekDay = (weekday_code + 5) % 7;

					if (HAL_RTC_SetDate(&hrtc, &set_date, RTC_FORMAT_BIN) != HAL_OK)
					{
						Error_Handler();
					}

					audio_list[audio_list_size++] = DATE_AUDIO;
					audio_list[audio_list_size++] = SET_AUDIO;
					break;

				case MENU_UP:
				case MENU_DOWN:
					uint8_t upper_lim;
					switch (set_date.Month)
					{
						case 1:
						case 3:
						case 5:
						case 7:
						case 8:
						case 10:
						case 12:
							upper_lim = 31;
							break;

						case 2:
							upper_lim = (set_date.Year % 4 == 0 ? 29 : 28);
							break;

						case 4:
						case 6:
						case 9:
						case 11:
							upper_lim = 30;
							break;

						default:
							upper_lim = 31;
					}

					set_date.Date = (menu_action == MENU_UP ? (set_date.Date >= upper_lim ? 1 : set_date.Date + 1) : (set_date.Date <= 1 ? upper_lim : set_date.Date - 1));
					generate_number_audio(audio_list, &audio_list_size, set_date.Date, 0);
					break;
			}
			break;

		case MENU_SET_MONTH:
			switch (menu_action) {
				case MENU_SELECT:
					menu_state = MENU_SET_DAY;
					audio_list[audio_list_size++] = SET_AUDIO;
					audio_list[audio_list_size++] = DAY_AUDIO;
					break;

				case MENU_UP:
					set_date.Month = (set_date.Month >= 12 ? 1 : set_date.Month + 1);
					audio_list[audio_list_size++] = JANUARY_AUDIO + set_date.Month - 1;
					break;

				case MENU_DOWN:
					set_date.Month = (set_date.Month <= 1 ? 12 : set_date.Month - 1);
					audio_list[audio_list_size++] = JANUARY_AUDIO + set_date.Month - 1;
					break;
			}
			break;

		case MENU_SET_YEAR:
			switch (menu_action) {
				case MENU_SELECT:
					menu_state = MENU_SET_MONTH;
					audio_list[audio_list_size++] = SET_AUDIO;
					audio_list[audio_list_size++] = MONTH_AUDIO;
					break;

				case MENU_UP:
					set_date.Year = (set_date.Year >= 99 ? 0 : set_date.Year + 1);
					generate_number_audio(audio_list, &audio_list_size, set_date.Year, 0);
					break;

				case MENU_DOWN:
					set_date.Year = (set_date.Year == 0 ? 99 : set_date.Year - 1);
					generate_number_audio(audio_list, &audio_list_size, set_date.Year, 0);
					break;
			}
			break;

		case MENU_FORMAT_TIME:
			switch (menu_action) {
				case MENU_SELECT:
					menu_state = MENU_SET_FORMAT_TIME;
					generate_number_audio(audio_list, &audio_list_size, (watch_settings.time_format == TIME_TWELVE_HOUR ? 12 : 24), 0);
					break;

				case MENU_UP:
					menu_state = MENU_SET_TIME;
					audio_list[audio_list_size++] = SET_AUDIO;
					audio_list[audio_list_size++] = TIME_AUDIO;
					break;

				case MENU_DOWN:
					menu_state = MENU_FORMAT_DATE;
					audio_list[audio_list_size++] = SET_AUDIO;
					audio_list[audio_list_size++] = DATE_AUDIO;
					audio_list[audio_list_size++] = FORMAT_AUDIO;
					break;
			}
			break;

		case MENU_FORMAT_DATE:
			switch (menu_action) {
				case MENU_SELECT:
					menu_state = MENU_SET_FORMAT_DATE;
					if (watch_settings.date_format == DATE_MDY)
					{
						audio_list[audio_list_size++] = MONTH_AUDIO;
						audio_list[audio_list_size++] = DAY_AUDIO;
					}
					else
					{
						audio_list[audio_list_size++] = DAY_AUDIO;
						audio_list[audio_list_size++] = MONTH_AUDIO;
					}

					break;

				case MENU_UP:
					menu_state = MENU_FORMAT_TIME;
					audio_list[audio_list_size++] = SET_AUDIO;
					audio_list[audio_list_size++] = TIME_AUDIO;
					audio_list[audio_list_size++] = FORMAT_AUDIO;
					break;

				case MENU_DOWN:
					menu_state = MENU_SET_VIB_LEN;
					audio_list[audio_list_size++] = SET_AUDIO;
					audio_list[audio_list_size++] = VIBRATION_AUDIO;
					audio_list[audio_list_size++] = LENGTH_AUDIO;
					break;
			}
			break;

		case MENU_SET_VIB_LEN:
			switch (menu_action) {
				case MENU_SELECT:
					menu_state = MENU_CHANGE_VIB_LENGTH;
					audio_list[audio_list_size++] = SHORT_AUDIO + watch_settings.vibration_length - 1;
					break;

				case MENU_UP:
					menu_state = MENU_FORMAT_DATE;
					audio_list[audio_list_size++] = SET_AUDIO;
					audio_list[audio_list_size++] = DATE_AUDIO;
					audio_list[audio_list_size++] = FORMAT_AUDIO;
					break;

				case MENU_DOWN:
					menu_state = MENU_SET_DATE;
					audio_list[audio_list_size++] = SET_AUDIO;
					audio_list[audio_list_size++] = DATE_AUDIO;
					break;
			}
			break;

		case MENU_SET_FORMAT_TIME:
			switch (menu_action) {
				case MENU_SELECT:
					menu_state = MENU_IDLE;
					audio_list[audio_list_size++] = TIME_AUDIO;
					audio_list[audio_list_size++] = FORMAT_AUDIO;
					audio_list[audio_list_size++] = SET_AUDIO;
					break;

				case MENU_UP:
				case MENU_DOWN:
					watch_settings.time_format = (watch_settings.time_format == TIME_TWELVE_HOUR ? TIME_TWENTYFOUR_HOUR : TIME_TWELVE_HOUR);
					generate_number_audio(audio_list, &audio_list_size, (watch_settings.time_format == TIME_TWELVE_HOUR ? 12 : 24), 0);
					break;
			}
			break;

		case MENU_SET_FORMAT_DATE:
			switch (menu_action) {
				case MENU_SELECT:
					menu_state = MENU_IDLE;
					audio_list[audio_list_size++] = DATE_AUDIO;
					audio_list[audio_list_size++] = FORMAT_AUDIO;
					audio_list[audio_list_size++] = SET_AUDIO;
					break;

				case MENU_UP:
				case MENU_DOWN:
					watch_settings.date_format = (watch_settings.date_format == DATE_MDY ? DATE_DMY : DATE_MDY);

					if (watch_settings.date_format == DATE_MDY)
					{
						audio_list[audio_list_size++] = MONTH_AUDIO;
						audio_list[audio_list_size++] = DAY_AUDIO;
					}
					else
					{
						audio_list[audio_list_size++] = DAY_AUDIO;
						audio_list[audio_list_size++] = MONTH_AUDIO;
					}
					break;
			}
			break;

		case MENU_CHANGE_VIB_LENGTH:
			switch (menu_action) {
				case MENU_SELECT:
					menu_state = MENU_IDLE;
					audio_list[audio_list_size++] = VIBRATION_AUDIO;
					audio_list[audio_list_size++] = LENGTH_AUDIO;
					audio_list[audio_list_size++] = SET_AUDIO;
					break;

				case MENU_UP:
					if (watch_settings.vibration_length < 3)
					{
						watch_settings.vibration_length++;
						audio_list[audio_list_size++] = SHORT_AUDIO + watch_settings.vibration_length - 1;
					}
					break;

				case MENU_DOWN:
					if (watch_settings.vibration_length > 1)
					{
						watch_settings.vibration_length--;
						audio_list[audio_list_size++] = SHORT_AUDIO + watch_settings.vibration_length - 1;
					}
					break;
			}
			break;
	}

	if (menu_action == MENU_HOME)
	{
		menu_state = MENU_IDLE;
	}
}
#endif	/*USB_DRIVE*/

#ifndef USB_DRIVE
void MX_USB_PCD_Init() {}	// Dummy instance of this function to keep the compiler happy
#endif	/*USB_DRIVE*/

/* USER CODE END 0 */

int main(void)
{

  /* MCU Configuration--------------------------------------------------------*/

  /* Reset of all peripherals, Initializes the Flash interface and the Systick. */
  HAL_Init();

  /* Configure the system clock */
  SystemClock_Config();

  /* Initialize all configured peripherals */
  MX_GPIO_Init();
  MX_DMA_Init();
  MX_I2C1_Init();
  MX_I2S2_Init();
  MX_SPI1_Init();
  MX_RTC_Init();
  MX_ADC_Init();
  MX_USART1_UART_Init();
  MX_USB_PCD_Init();
  MX_FATFS_Init();
  MX_TIM22_Init();
  MX_TIM2_Init();
  MX_TIM21_Init();
  /* USER CODE BEGIN 2 */

  #ifdef SPI_FLASH
  if (Flash_Init(&hspi1, FLASH_CS_GPIO_Port, FLASH_CS_Pin) != FLASH_OK)
  {
	  Error_Handler();
  }

  #ifndef USB_DRIVE
  if (Flash_PowerDown() != FLASH_OK)
  {
	  Error_Handler();
  }
  #endif	/*USB_DRIVE*/
  #endif	/*SPI_FLASH*/

  #if defined(HEARTRATE) || defined(PULSE_OX)
  if (SPO2_Init(&hi2c1) != SPO2_OK)
  {
	  Error_Handler();
  }

  arm_fir_init_q15(&S, FIR_FILTER_TAPS, FIR_COEFFICIENTS, fir_state, 1);
  #endif	/*defined(HEARTRATE) || defined(PULSE_OX)*/

  #ifdef MEASURE_BATT
  HAL_ADCEx_Calibration_Start(&hadc, ADC_SINGLE_ENDED);

  RTC_AlarmTypeDef batt_meas_alarm;

  if (HAL_RTC_GetAlarm(&hrtc, &batt_meas_alarm, RTC_ALARM_A, RTC_FORMAT_BIN) != HAL_OK)
  {
	  Error_Handler();
  }

  alarm_hour_inc = batt_meas_alarm.AlarmTime.Hours;
  alarm_min_inc = batt_meas_alarm.AlarmTime.Minutes;
  alarm_sec_inc = batt_meas_alarm.AlarmTime.Seconds;
  #endif	/*MEASURE_BATT*/

  #ifndef USB_DRIVE
  set_gain_pins();
  #endif	/*USB_DRIVE*/

  #ifdef EXTI_SIGNALS
  Button_Release();
  #endif	/*EXTI_SIGNALS*/

  #ifdef USB_DRIVE
  tusb_init();
  #endif	/*USB_DRIVE*/

  /* USER CODE END 2 */

  /* Infinite loop */
  /* USER CODE BEGIN WHILE */
  while (1)
  {
	  #ifdef USB_DRIVE
	  tud_task();
	  #endif /*USB_DRIVE*/

	  #ifdef DEBUG_TERMINAL
	  #ifdef VIBRATION
	  if (!morse_rx_flag)
	  {
	  #endif	/*VIBRATION*/
	  	  HAL_UART_Receive_IT(&huart1, rx_buffer, 2);
	  #ifdef VIBRATION
	  }
	  #endif	/*VIBRATION*/
	  #endif	/*DEBUG_TERMINAL*/

	  #ifdef AUDIO
	  if (fill_audio_buffer_flag)
	  {
		  fill_audio_buffer();
	  }
 	  #endif	/*AUDIO*/

	  #if defined(HEARTRATE) || defined(PULSE_OX)
	  if (process_bio_data_flag)
	  {
		  process_spo2_data();
	  }
	  #endif	/*defined(HEARTRATE) || defined(PULSE_OX)*/

	  #ifndef USB_DRIVE
	  handle_events();
	  #endif	/*USB_DRIVE*/

    /* USER CODE END WHILE */

  }
}

void SystemClock_Config(void)
{
  RCC_OscInitTypeDef RCC_OscInitStruct = {0};
  RCC_ClkInitTypeDef RCC_ClkInitStruct = {0};
  RCC_PeriphCLKInitTypeDef PeriphClkInit = {0};

  /** Configure the main internal regulator output voltage
  */
  __HAL_PWR_VOLTAGESCALING_CONFIG(PWR_REGULATOR_VOLTAGE_SCALE1);

  /** Initializes the RCC Oscillators according to the specified parameters
  * in the RCC_OscInitTypeDef structure.
  */
  RCC_OscInitStruct.OscillatorType = RCC_OSCILLATORTYPE_HSI|RCC_OSCILLATORTYPE_LSE
                              |RCC_OSCILLATORTYPE_HSI48;
  RCC_OscInitStruct.LSEState = RCC_LSE_BYPASS;
  RCC_OscInitStruct.HSIState = RCC_HSI_ON;
  RCC_OscInitStruct.HSICalibrationValue = RCC_HSICALIBRATION_DEFAULT;
  RCC_OscInitStruct.HSI48State = RCC_HSI48_ON;
  RCC_OscInitStruct.PLL.PLLState = RCC_PLL_ON;
  RCC_OscInitStruct.PLL.PLLSource = RCC_PLLSOURCE_HSI;
  RCC_OscInitStruct.PLL.PLLMUL = RCC_PLLMUL_6;
  RCC_OscInitStruct.PLL.PLLDIV = RCC_PLLDIV_3;
  if (HAL_RCC_OscConfig(&RCC_OscInitStruct) != HAL_OK)
  {
    Error_Handler();
  }

  /** Initializes the CPU, AHB and APB buses clocks
  */
  RCC_ClkInitStruct.ClockType = RCC_CLOCKTYPE_HCLK|RCC_CLOCKTYPE_SYSCLK
                              |RCC_CLOCKTYPE_PCLK1|RCC_CLOCKTYPE_PCLK2;
  RCC_ClkInitStruct.SYSCLKSource = RCC_SYSCLKSOURCE_PLLCLK;
  RCC_ClkInitStruct.AHBCLKDivider = RCC_SYSCLK_DIV1;
  RCC_ClkInitStruct.APB1CLKDivider = RCC_HCLK_DIV1;
  RCC_ClkInitStruct.APB2CLKDivider = RCC_HCLK_DIV1;

  if (HAL_RCC_ClockConfig(&RCC_ClkInitStruct, FLASH_LATENCY_1) != HAL_OK)
  {
    Error_Handler();
  }
  PeriphClkInit.PeriphClockSelection = RCC_PERIPHCLK_USART1|RCC_PERIPHCLK_I2C1
                              |RCC_PERIPHCLK_RTC|RCC_PERIPHCLK_USB;
  PeriphClkInit.Usart1ClockSelection = RCC_USART1CLKSOURCE_PCLK2;
  PeriphClkInit.I2c1ClockSelection = RCC_I2C1CLKSOURCE_PCLK1;
  PeriphClkInit.RTCClockSelection = RCC_RTCCLKSOURCE_LSE;
  PeriphClkInit.UsbClockSelection = RCC_USBCLKSOURCE_HSI48;
  if (HAL_RCCEx_PeriphCLKConfig(&PeriphClkInit) != HAL_OK)
  {
    Error_Handler();
  }
}

void Error_Handler(void)
{
  /* USER CODE BEGIN Error_Handler_Debug */
  /* User can add his own implementation to report the HAL error return state */
  __disable_irq();

  #ifdef DEBUG_TERMINAL
  while (1);
  #endif

  NVIC_SystemReset();
  /* USER CODE END Error_Handler_Debug */
}
